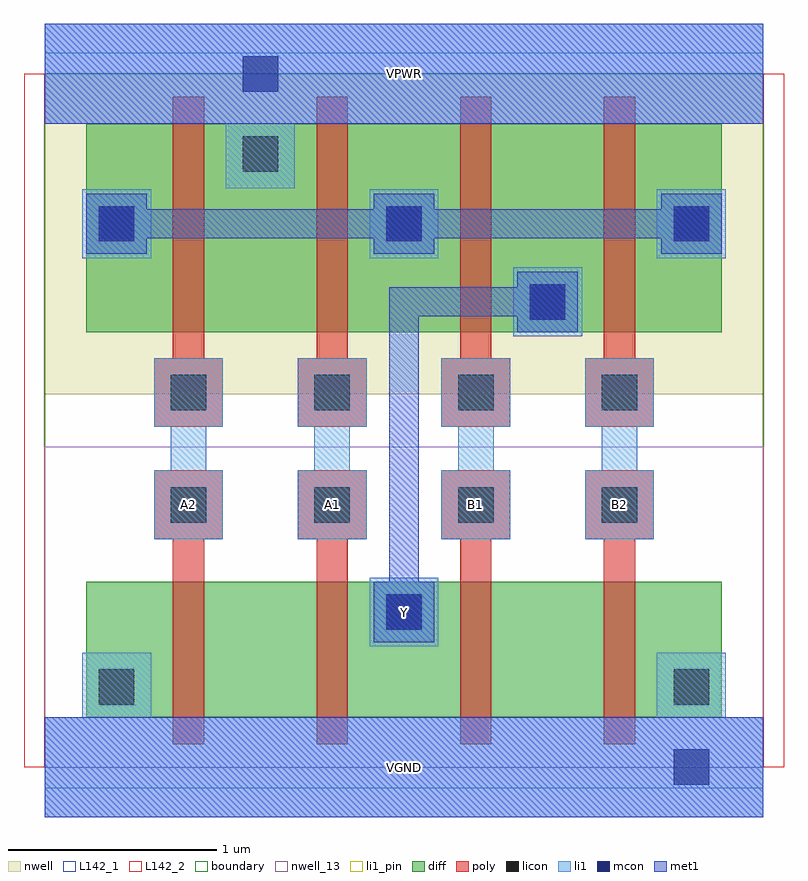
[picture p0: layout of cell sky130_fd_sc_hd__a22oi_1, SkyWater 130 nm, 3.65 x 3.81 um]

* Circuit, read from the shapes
.subckt sky130_fd_sc_hd__a22oi_1 A1 A2 B1 B2 VGND VPWR Y
XM1 n1 A2 VGND VSUBS sky130_fd_pr__nfet_01v8 w=0.65 l=0.15
XM2 Y A1 n1 VSUBS sky130_fd_pr__nfet_01v8 w=0.65 l=0.15
XM3 n2 B1 Y VSUBS sky130_fd_pr__nfet_01v8 w=0.65 l=0.15
XM4 VGND B2 n2 VSUBS sky130_fd_pr__nfet_01v8 w=0.65 l=0.15
XM5 VPWR A2 n3 n4 sky130_fd_pr__pfet_01v8 w=1 l=0.15
XM6 n3 A1 VPWR n4 sky130_fd_pr__pfet_01v8 w=1 l=0.15
XM7 Y B1 n3 n4 sky130_fd_pr__pfet_01v8 w=1 l=0.15
XM8 n3 B2 Y n4 sky130_fd_pr__pfet_01v8 w=1 l=0.15
.ends

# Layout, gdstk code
import gdstk
lib = gdstk.Library(unit=1e-6, precision=1e-09)
def R(c, l, rs):  # rectangles x0, y0, x1, y1
    for r in rs: c.add(gdstk.rectangle(r[:2], r[2:], *l))
def A(c, l, x, y, w, h, nx, ny, dx, dy):  # array of equal rectangles
    R(c, l, [(x+i*dx, y+j*dy, x+i*dx+w, y+j*dy+h) for i in range(nx) for j in range(ny)])
def P(c, l, *ps):  # polygons
    for p in ps: c.add(gdstk.Polygon(p, *l))
nwell_13 = (64, 13)
nwell = (64, 20)
diff = (65, 20)
poly = (66, 20)
licon = (66, 44)
li1_pin = (67, 16)
li1 = (67, 20)
mcon = (67, 44)
met1 = (68, 20)
L142_1 = (142, 1)
L142_2 = (142, 2)
boundary = (235, 4)

sky130_fd_sc_hd__a22oi_1 = lib.new_cell('sky130_fd_sc_hd__a22oi_1')
R(sky130_fd_sc_hd__a22oi_1, nwell_13, [(0,0,3.45,1.54)])
R(sky130_fd_sc_hd__a22oi_1, nwell, [(0,1.79,3.45,3.33)])
A(sky130_fd_sc_hd__a22oi_1, diff, 0.615, 0.24, 0.69, 0.65, 3, 1, 0.69, 0)
A(sky130_fd_sc_hd__a22oi_1, diff, 0.615, 2.09, 0.69, 1, 3, 1, 0.69, 0)
R(sky130_fd_sc_hd__a22oi_1, diff, [(0.2,0.24,3.25,0.89), (0.2,0.24,0.615,0.89), (2.685,0.24,3.25,0.89), (0.2,2.09,3.25,3.09), (0.2,2.09,0.615,3.09), (2.685,2.09,3.25,3.09)])
P(sky130_fd_sc_hd__a22oi_1, poly, [(2.685,0.11),(2.685,1.095),(2.595,1.095),(2.595,1.425),(2.925,1.425),(2.925,1.095),(2.835,1.095),(2.835,0.11)],
  [(2.595,1.635),(2.595,1.965),(2.685,1.965),(2.685,3.22),(2.835,3.22),(2.835,1.965),(2.925,1.965),(2.925,1.635)],
  [(0.615,0.11),(0.615,1.095),(0.525,1.095),(0.525,1.425),(0.855,1.425),(0.855,1.095),(0.765,1.095),(0.765,0.11)],
  [(0.525,1.635),(0.525,1.965),(0.615,1.965),(0.615,3.22),(0.765,3.22),(0.765,1.965),(0.855,1.965),(0.855,1.635)],
  [(1.305,0.11),(1.305,1.095),(1.215,1.095),(1.215,1.425),(1.545,1.425),(1.545,1.095),(1.455,1.095),(1.455,0.11)],
  [(1.215,1.635),(1.215,1.965),(1.305,1.965),(1.305,3.22),(1.455,3.22),(1.455,1.965),(1.545,1.965),(1.545,1.635)],
  [(1.995,0.11),(1.995,1.095),(1.905,1.095),(1.905,1.425),(2.235,1.425),(2.235,1.095),(2.145,1.095),(2.145,0.11)],
  [(1.905,1.635),(1.905,1.965),(1.995,1.965),(1.995,3.22),(2.145,3.22),(2.145,1.965),(2.235,1.965),(2.235,1.635)])
A(sky130_fd_sc_hd__a22oi_1, licon, 0.605, 1.175, 0.17, 0.17, 4, 2, 0.69, 0.54)
A(sky130_fd_sc_hd__a22oi_1, licon, 0.26, 2.525, 0.17, 0.17, 3, 1, 1.38, 0)
R(sky130_fd_sc_hd__a22oi_1, licon, [(0.26,0.3,0.43,0.47), (3.02,0.3,3.19,0.47), (1.64,0.66,1.81,0.83), (2.33,2.15,2.5,2.32), (0.95,2.86,1.12,3.03)])
R(sky130_fd_sc_hd__a22oi_1, li1_pin, [(0,-0.24,3.45,0.24), (1.56,0.58,1.89,0.91), (0,3.09,3.45,3.57)])
P(sky130_fd_sc_hd__a22oi_1, li1_pin, [(1.215,1.095),(1.215,1.425),(1.295,1.425),(1.295,1.635),(1.215,1.635),(1.215,1.965),(1.545,1.965),(1.545,1.635),(1.465,1.635),(1.465,1.425),(1.545,1.425),(1.545,1.095)],
  [(0.525,1.095),(0.525,1.425),(0.605,1.425),(0.605,1.635),(0.525,1.635),(0.525,1.965),(0.855,1.965),(0.855,1.635),(0.775,1.635),(0.775,1.425),(0.855,1.425),(0.855,1.095)],
  [(1.905,1.095),(1.905,1.425),(1.985,1.425),(1.985,1.635),(1.905,1.635),(1.905,1.965),(2.235,1.965),(2.235,1.635),(2.155,1.635),(2.155,1.425),(2.235,1.425),(2.235,1.095)],
  [(2.595,1.095),(2.595,1.425),(2.675,1.425),(2.675,1.635),(2.595,1.635),(2.595,1.965),(2.925,1.965),(2.925,1.635),(2.845,1.635),(2.845,1.425),(2.925,1.425),(2.925,1.095)])
A(sky130_fd_sc_hd__a22oi_1, li1, 0.18, 2.445, 0.33, 0.33, 3, 1, 1.38, 0)
R(sky130_fd_sc_hd__a22oi_1, li1, [(1.56,0.58,1.89,0.91), (2.25,2.07,2.58,2.4)])
P(sky130_fd_sc_hd__a22oi_1, li1, [(2.595,1.095),(2.595,1.425),(2.675,1.425),(2.675,1.635),(2.595,1.635),(2.595,1.965),(2.925,1.965),(2.925,1.635),(2.845,1.635),(2.845,1.425),(2.925,1.425),(2.925,1.095)],
  [(0.525,1.095),(0.525,1.425),(0.605,1.425),(0.605,1.635),(0.525,1.635),(0.525,1.965),(0.855,1.965),(0.855,1.635),(0.775,1.635),(0.775,1.425),(0.855,1.425),(0.855,1.095)],
  [(0.87,2.78),(0.87,3.09),(0,3.09),(0,3.57),(3.45,3.57),(3.45,3.09),(1.2,3.09),(1.2,2.78)],
  [(1.215,1.095),(1.215,1.425),(1.295,1.425),(1.295,1.635),(1.215,1.635),(1.215,1.965),(1.545,1.965),(1.545,1.635),(1.465,1.635),(1.465,1.425),(1.545,1.425),(1.545,1.095)],
  [(0,-0.24),(0,0.24),(0.18,0.24),(0.18,0.55),(0.51,0.55),(0.51,0.24),(2.94,0.24),(2.94,0.55),(3.27,0.55),(3.27,0.24),(3.45,0.24),(3.45,-0.24)],
  [(1.905,1.095),(1.905,1.425),(1.985,1.425),(1.985,1.635),(1.905,1.635),(1.905,1.965),(2.235,1.965),(2.235,1.635),(2.155,1.635),(2.155,1.425),(2.235,1.425),(2.235,1.095)])
A(sky130_fd_sc_hd__a22oi_1, mcon, 0.26, 2.525, 0.17, 0.17, 3, 1, 1.38, 0)
R(sky130_fd_sc_hd__a22oi_1, mcon, [(3.02,-0.085,3.19,0.085), (1.64,0.66,1.81,0.83), (2.33,2.15,2.5,2.32), (0.95,3.245,1.12,3.415)])
R(sky130_fd_sc_hd__a22oi_1, met1, [(0,-0.24,3.45,0.24), (0,3.09,3.45,3.57)])
P(sky130_fd_sc_hd__a22oi_1, met1, [(1.58,0.6),(1.58,0.89),(1.655,0.89),(1.655,2.305),(2.27,2.305),(2.27,2.38),(2.56,2.38),(2.56,2.09),(2.27,2.09),(2.27,2.165),(1.795,2.165),(1.795,0.89),(1.87,0.89),(1.87,0.6)],
  [(0.2,2.465),(0.2,2.755),(0.49,2.755),(0.49,2.68),(1.58,2.68),(1.58,2.755),(1.87,2.755),(1.87,2.68),(2.96,2.68),(2.96,2.755),(3.25,2.755),(3.25,2.465),(2.96,2.465),(2.96,2.54),(1.87,2.54),(1.87,2.465),(1.58,2.465),(1.58,2.54),(0.49,2.54),(0.49,2.465)])
R(sky130_fd_sc_hd__a22oi_1, L142_1, [(0,-0.1,3.45,0), (0,3.33,3.45,3.43)])
R(sky130_fd_sc_hd__a22oi_1, L142_2, [(-0.1,0,0,3.33), (3.45,0,3.55,3.33)])
R(sky130_fd_sc_hd__a22oi_1, boundary, [(0,0,3.45,3.33)])
sky130_fd_sc_hd__a22oi_1.add(gdstk.Label('Y', (1.725,0.745), layer=67, texttype=5))
sky130_fd_sc_hd__a22oi_1.add(gdstk.Label('A1', (1.38,1.26), layer=67, texttype=5))
sky130_fd_sc_hd__a22oi_1.add(gdstk.Label('A2', (0.69,1.26), layer=67, texttype=5))
sky130_fd_sc_hd__a22oi_1.add(gdstk.Label('B1', (2.07,1.26), layer=67, texttype=5))
sky130_fd_sc_hd__a22oi_1.add(gdstk.Label('B2', (2.76,1.26), layer=67, texttype=5))
sky130_fd_sc_hd__a22oi_1.add(gdstk.Label('VGND', (1.725,0), layer=67, texttype=5))
sky130_fd_sc_hd__a22oi_1.add(gdstk.Label('VPWR', (1.725,3.33), layer=67, texttype=5))
sky130_fd_sc_hd__a22oi_1.add(gdstk.Label('VGND', (1.725,0), layer=68, texttype=5))
sky130_fd_sc_hd__a22oi_1.add(gdstk.Label('VPWR', (1.725,3.33), layer=68, texttype=5))

lib.write_gds('sky130_fd_sc_hd__a22oi_1.gds')
